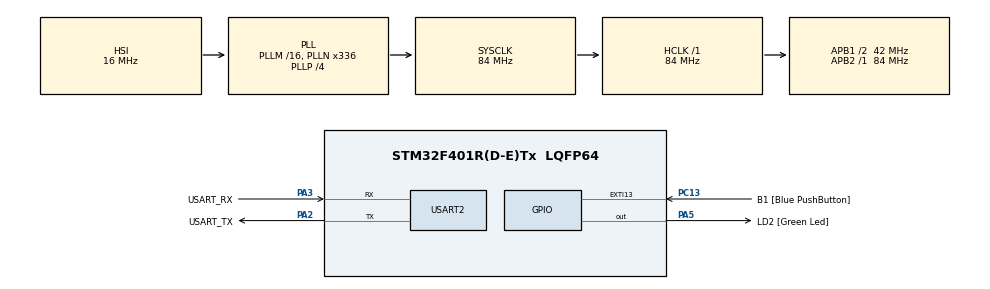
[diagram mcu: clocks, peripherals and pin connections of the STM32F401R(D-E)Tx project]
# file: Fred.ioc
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FREERTOS.Tasks01=defaultTask,0,128,StartDefaultTask,Default;BlinkTask_First,-2,128,BlinkTask,Default
Mcu.Family=STM32F4
Mcu.Name=STM32F401R(D-E)Tx
Mcu.Package=LQFP64
NVIC.PriorityGroup=NVIC_PRIORITYGROUP_4
NVIC.TIM1_UP_TIM10_IRQn=true\:0\:0\:false\:false\:true\:false
NVIC.TimeBase=TIM1_UP_TIM10_IRQn
NVIC.TimeBaseIP=TIM10
PA13.GPIO_Label=TMS
PA13.Mode=Serial_Wire
PA13.Signal=SYS_JTMS-SWDIO
PA14.GPIO_Label=TCK
PA14.Mode=Serial_Wire
PA14.Signal=SYS_JTCK-SWCLK
PA2.GPIO_Label=USART_TX
PA2.GPIO_Mode=GPIO_MODE_AF_PP
PA2.GPIO_PuPd=GPIO_NOPULL
PA2.GPIO_Speed=GPIO_SPEED_FREQ_LOW
PA2.Mode=Asynchronous
PA2.Signal=USART2_TX
PA3.GPIO_Label=USART_RX
PA3.GPIO_Mode=GPIO_MODE_AF_PP
PA3.GPIO_PuPd=GPIO_NOPULL
PA3.GPIO_Speed=GPIO_SPEED_FREQ_LOW
PA3.Mode=Asynchronous
PA3.Signal=USART2_RX
PA5.GPIO_Label=LD2 [Green Led]
PA5.GPIO_Mode=GPIO_MODE_OUTPUT_PP
PA5.GPIO_PuPd=GPIO_NOPULL
PA5.GPIO_Speed=GPIO_SPEED_FREQ_LOW
PA5.Signal=GPIO_Output
PB3.GPIO_Label=SWO
PB3.Signal=SYS_JTDO-SWO
PC13-ANTI_TAMP.GPIO_Label=B1 [Blue PushButton]
PC13-ANTI_TAMP.GPIO_ModeDefaultEXTI=GPIO_MODE_EVT_RISING
PC13-ANTI_TAMP.GPIO_PuPd=GPIO_NOPULL
PC13-ANTI_TAMP.Signal=GPXTI13
PC14-OSC32_IN.Signal=RCC_OSC32_IN
PC15-OSC32_OUT.Signal=RCC_OSC32_OUT
PH0\ -\ OSC_IN.Signal=RCC_OSC_IN
PH1\ -\ OSC_OUT.Signal=RCC_OSC_OUT
ProjectManager.HeapSize=0x200
ProjectManager.StackSize=0x400
ProjectManager.TargetToolchain=SW4STM32
RCC.AHBFreq_Value=84000000
RCC.APB1CLKDivider=RCC_HCLK_DIV2
RCC.APB1Freq_Value=42000000
RCC.APB1TimFreq_Value=84000000
RCC.APB2Freq_Value=84000000
RCC.APB2TimFreq_Value=84000000
RCC.CortexFreq_Value=84000000
RCC.HCLKFreq_Value=84000000
RCC.HSE_VALUE=8000000
RCC.HSI_VALUE=16000000
RCC.LSE_VALUE=32768
RCC.PLLN=336
RCC.PLLP=RCC_PLLP_DIV4
RCC.PLLQ=7
RCC.SYSCLKFreq_VALUE=84000000
RCC.SYSCLKSource=RCC_SYSCLKSOURCE_PLLCLK
RCC.VCOOutputFreq_Value=336000000
VP_FREERTOS_VS_ENABLE.Mode=Enabled
VP_SYS_VS_tim10.Mode=TIM10
board=NUCLEO-F401RE

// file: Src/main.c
/**
  ******************************************************************************
  * File Name          : main.c
  * Description        : Main program body
  ******************************************************************************
  *
  * COPYRIGHT(c) 2016 STMicroelectronics
  *
  * Redistribution and use in source and binary forms, with or without modification,
  * are permitted provided that the following conditions are met:
  *   1. Redistributions of source code must retain the above copyright notice,
  *      this list of conditions and the following disclaimer.
  *   2. Redistributions in binary form must reproduce the above copyright notice,
  *      this list of conditions and the following disclaimer in the documentation
  *      and/or other materials provided with the distribution.
  *   3. Neither the name of STMicroelectronics nor the names of its contributors
  *      may be used to endorse or promote products derived from this software
  *      without specific prior written permission.
  *
  * THIS SOFTWARE IS PROVIDED BY THE COPYRIGHT HOLDERS AND CONTRIBUTORS "AS IS"
  * AND ANY EXPRESS OR IMPLIED WARRANTIES, INCLUDING, BUT NOT LIMITED TO, THE
  * IMPLIED WARRANTIES OF MERCHANTABILITY AND FITNESS FOR A PARTICULAR PURPOSE ARE
  * DISCLAIMED. IN NO EVENT SHALL THE COPYRIGHT HOLDER OR CONTRIBUTORS BE LIABLE
  * FOR ANY DIRECT, INDIRECT, INCIDENTAL, SPECIAL, EXEMPLARY, OR CONSEQUENTIAL
  * DAMAGES (INCLUDING, BUT NOT LIMITED TO, PROCUREMENT OF SUBSTITUTE GOODS OR
  * SERVICES; LOSS OF USE, DATA, OR PROFITS; OR BUSINESS INTERRUPTION) HOWEVER
  * CAUSED AND ON ANY THEORY OF LIABILITY, WHETHER IN CONTRACT, STRICT LIABILITY,
  * OR TORT (INCLUDING NEGLIGENCE OR OTHERWISE) ARISING IN ANY WAY OUT OF THE USE
  * OF THIS SOFTWARE, EVEN IF ADVISED OF THE POSSIBILITY OF SUCH DAMAGE.
  *
  ******************************************************************************
  */
#include "stm32f4xx_hal.h"
#include "cmsis_os.h"
#include "usart.h"
#include "gpio.h"

/* USER CODE BEGIN PV */
/* Private variables ---------------------------------------------------------*/
#define QLENGTH 10
/* USER CODE END PV */

void SystemClock_Config(void);
void Error_Handler(void);
void MX_FREERTOS_Init(void);

/* USER CODE BEGIN PFP */
/* Private function prototypes -----------------------------------------------*/

/* USER CODE END PFP */

/* USER CODE BEGIN 0 */
//
// defaultDestination is set to point to the Q that, by default
// a task should send messages to.
//
// The logic is this:
// If the sender in a message was set to NULL,
// ... and destination is set to NULL
// ... send the response to defaultDestination
// ... and set destination=defaultDestination
//
// If the sender in a message was set to NULL,
// ... and destination is set
// ... Send the response to desatination
//
// If the sender in a message was set
// ... send a response to that.
//
struct taskSettings {
	SemaphoreHandle_t lock;
	QueueHandle_t iam;
	QueueHandle_t destination;
	QueueHandle_t defaultDestination ;
};

/* USER CODE END 0 */

struct payload {
	uint8_t  cmd[2];
	uint16_t addr;
	uint8_t data;
};

struct cmdMessage {
    QueueHandle_t sender;
    struct payload message;
};

void initTaskSettings(struct taskSettings *tsk, QueueHandle_t me, QueueHandle_t dflt) {
	tsk->lock = xSemaphoreCreateMutex();
	tsk->iam = me;
	tsk->destination = NULL;
	tsk->defaultDestination = dflt;

}
int main(void)
{

  /* USER CODE BEGIN 1 */
	struct taskSettings cmdListener;
	struct taskSettings cmdSender;
	struct taskSettings relay;

	initTaskSettings( &relay,xQueueCreate(QLENGTH,sizeof(struct cmdMessage)),NULL );
	initTaskSettings( &cmdSender,xQueueCreate(QLENGTH,sizeof(struct cmdMessage)),NULL );
	initTaskSettings( &cmdListener,NULL, relay.iam);

  /* USER CODE END 1 */

  /* MCU Configuration----------------------------------------------------------*/

  /* Reset of all peripherals, Initializes the Flash interface and the Systick. */
  HAL_Init();

  /* Configure the system clock */
  SystemClock_Config();

  /* Initialize all configured peripherals */
  MX_GPIO_Init();
  MX_USART2_UART_Init();

  /* Call init function for freertos objects (in freertos.c) */
  MX_FREERTOS_Init();

  /* Start scheduler */
  osKernelStart();

  /* We should never get here as control is now taken by the scheduler */

  /* Infinite loop */
  while (1)
  {

  }

}

/** System Clock Configuration
*/
void SystemClock_Config(void)
{

  RCC_OscInitTypeDef RCC_OscInitStruct;
  RCC_ClkInitTypeDef RCC_ClkInitStruct;

  __HAL_RCC_PWR_CLK_ENABLE();

  __HAL_PWR_VOLTAGESCALING_CONFIG(PWR_REGULATOR_VOLTAGE_SCALE2);

  RCC_OscInitStruct.OscillatorType = RCC_OSCILLATORTYPE_HSI;
  RCC_OscInitStruct.HSIState = RCC_HSI_ON;
  RCC_OscInitStruct.HSICalibrationValue = 16;
  RCC_OscInitStruct.PLL.PLLState = RCC_PLL_ON;
  RCC_OscInitStruct.PLL.PLLSource = RCC_PLLSOURCE_HSI;
  RCC_OscInitStruct.PLL.PLLM = 16;
  RCC_OscInitStruct.PLL.PLLN = 336;
  RCC_OscInitStruct.PLL.PLLP = RCC_PLLP_DIV4;
  RCC_OscInitStruct.PLL.PLLQ = 7;
  if (HAL_RCC_OscConfig(&RCC_OscInitStruct) != HAL_OK)
  {
    Error_Handler();
  }

  RCC_ClkInitStruct.ClockType = RCC_CLOCKTYPE_HCLK|RCC_CLOCKTYPE_SYSCLK
                              |RCC_CLOCKTYPE_PCLK1|RCC_CLOCKTYPE_PCLK2;
  RCC_ClkInitStruct.SYSCLKSource = RCC_SYSCLKSOURCE_PLLCLK;
  RCC_ClkInitStruct.AHBCLKDivider = RCC_SYSCLK_DIV1;
  RCC_ClkInitStruct.APB1CLKDivider = RCC_HCLK_DIV2;
  RCC_ClkInitStruct.APB2CLKDivider = RCC_HCLK_DIV1;
  if (HAL_RCC_ClockConfig(&RCC_ClkInitStruct, FLASH_LATENCY_2) != HAL_OK)
  {
    Error_Handler();
  }

  HAL_SYSTICK_Config(HAL_RCC_GetHCLKFreq()/1000);

  HAL_SYSTICK_CLKSourceConfig(SYSTICK_CLKSOURCE_HCLK);

  /* SysTick_IRQn interrupt configuration */
  HAL_NVIC_SetPriority(SysTick_IRQn, 15, 0);
}

void HAL_TIM_PeriodElapsedCallback(TIM_HandleTypeDef *htim)
{
  if (htim->Instance == TIM10) {
    HAL_IncTick();
  }
}

void Error_Handler(void)
{
  while(1)
  {
  }
}

/************************ (C) COPYRIGHT STMicroelectronics *****END OF FILE****/

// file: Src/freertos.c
/**
  ******************************************************************************
  * File Name          : freertos.c
  * Description        : Code for freertos applications
  ******************************************************************************
  *
  * COPYRIGHT(c) 2016 STMicroelectronics
  *
  * Redistribution and use in source and binary forms, with or without modification,
  * are permitted provided that the following conditions are met:
  *   1. Redistributions of source code must retain the above copyright notice,
  *      this list of conditions and the following disclaimer.
  *   2. Redistributions in binary form must reproduce the above copyright notice,
  *      this list of conditions and the following disclaimer in the documentation
  *      and/or other materials provided with the distribution.
  *   3. Neither the name of STMicroelectronics nor the names of its contributors
  *      may be used to endorse or promote products derived from this software
  *      without specific prior written permission.
  *
  * THIS SOFTWARE IS PROVIDED BY THE COPYRIGHT HOLDERS AND CONTRIBUTORS "AS IS"
  * AND ANY EXPRESS OR IMPLIED WARRANTIES, INCLUDING, BUT NOT LIMITED TO, THE
  * IMPLIED WARRANTIES OF MERCHANTABILITY AND FITNESS FOR A PARTICULAR PURPOSE ARE
  * DISCLAIMED. IN NO EVENT SHALL THE COPYRIGHT HOLDER OR CONTRIBUTORS BE LIABLE
  * FOR ANY DIRECT, INDIRECT, INCIDENTAL, SPECIAL, EXEMPLARY, OR CONSEQUENTIAL
  * DAMAGES (INCLUDING, BUT NOT LIMITED TO, PROCUREMENT OF SUBSTITUTE GOODS OR
  * SERVICES; LOSS OF USE, DATA, OR PROFITS; OR BUSINESS INTERRUPTION) HOWEVER
  * CAUSED AND ON ANY THEORY OF LIABILITY, WHETHER IN CONTRACT, STRICT LIABILITY,
  * OR TORT (INCLUDING NEGLIGENCE OR OTHERWISE) ARISING IN ANY WAY OUT OF THE USE
  * OF THIS SOFTWARE, EVEN IF ADVISED OF THE POSSIBILITY OF SUCH DAMAGE.
  *
  ******************************************************************************
  */

#include "FreeRTOS.h"
#include "task.h"
#include "cmsis_os.h"

/* USER CODE BEGIN Includes */
#include "gpio.h"
/* USER CODE END Includes */

osThreadId defaultTaskHandle;
osThreadId BlinkTask_FirstHandle;

void StartDefaultTask(void const * argument);
void BlinkTask(void const * argument);

void MX_FREERTOS_Init(void); /* (MISRA C 2004 rule 8.1) */

/* Hook prototypes */

/* Init FreeRTOS */

void MX_FREERTOS_Init(void) {

  /* Create the thread(s) */
  /* definition and creation of defaultTask */
  osThreadDef(defaultTask, StartDefaultTask, osPriorityNormal, 0, 128);
  defaultTaskHandle = osThreadCreate(osThread(defaultTask), NULL);

  /* definition and creation of BlinkTask_First */
  osThreadDef(BlinkTask_First, BlinkTask, osPriorityLow, 0, 128);
  BlinkTask_FirstHandle = osThreadCreate(osThread(BlinkTask_First), NULL);

}

/* StartDefaultTask function */
void StartDefaultTask(void const * argument)
{

  for(;;)
  {
    osDelay(1);
  }
}

/* BlinkTask function */
void BlinkTask(void const * argument)
{
  /* USER CODE BEGIN BlinkTask */
  /* Infinite loop */
  for(;;)
  {
	  HAL_GPIO_WritePin(LD2_GPIO_Port, LD2_Pin, GPIO_PIN_SET);
	  osDelay(500);
	  HAL_GPIO_WritePin(LD2_GPIO_Port, LD2_Pin, GPIO_PIN_RESET);
	  osDelay(500);
  }
  /* USER CODE END BlinkTask */
}

/************************ (C) COPYRIGHT STMicroelectronics *****END OF FILE****/
